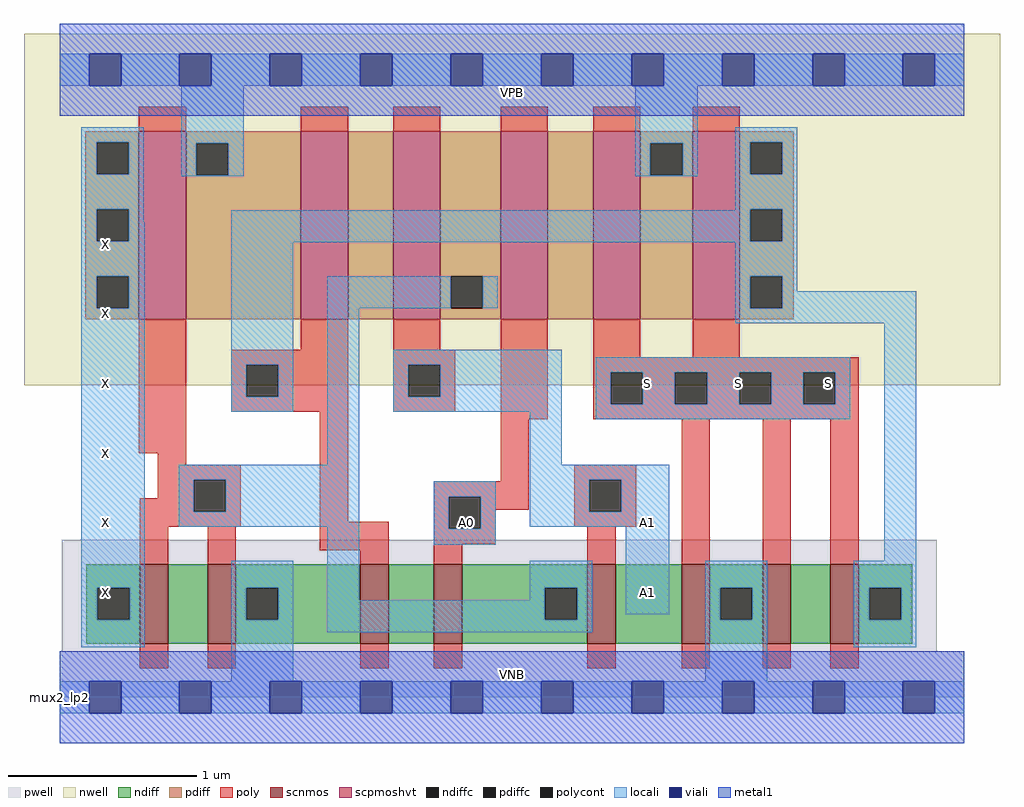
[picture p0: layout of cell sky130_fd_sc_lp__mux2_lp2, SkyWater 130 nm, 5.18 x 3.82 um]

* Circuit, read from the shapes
.subckt sky130_fd_sc_lp__mux2_lp2 A0 A1 S VGND VNB VPB VPWR X
XM1 n1 n2 X VNB sky130_fd_pr__nfet_01v8 w=0.42 l=0.15
XM2 VGND n2 n1 VNB sky130_fd_pr__nfet_01v8 w=0.42 l=0.15
XM3 n3 n4 VGND VNB sky130_fd_pr__nfet_01v8 w=0.42 l=0.15
XM4 n2 A0 n3 VNB sky130_fd_pr__nfet_01v8 w=0.42 l=0.15
XM5 n5 A1 n2 VNB sky130_fd_pr__nfet_01v8 w=0.42 l=0.15
XM6 VGND S n5 VNB sky130_fd_pr__nfet_01v8 w=0.42 l=0.15
XM7 n6 S VGND VNB sky130_fd_pr__nfet_01v8 w=0.42 l=0.15
XM8 n4 S n6 VNB sky130_fd_pr__nfet_01v8 w=0.42 l=0.15
XM9 VPWR n2 X VPB sky130_fd_pr__pfet_01v8_hvt w=1 l=0.25
XM10 n7 n4 VPWR VPB sky130_fd_pr__pfet_01v8_hvt w=1 l=0.25
XM11 n2 A1 n7 VPB sky130_fd_pr__pfet_01v8_hvt w=1 l=0.25
XM12 n8 A0 n2 VPB sky130_fd_pr__pfet_01v8_hvt w=1 l=0.25
XM13 VPWR S n8 VPB sky130_fd_pr__pfet_01v8_hvt w=1 l=0.25
XM14 n4 S VPWR VPB sky130_fd_pr__pfet_01v8_hvt w=1 l=0.25
.ends

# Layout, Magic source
magic
tech sky130A
magscale 1 2
<< nwell >>
rect -38 331 998 704
<< pwell >>
rect 2 49 931 167
rect 0 0 960 49
<< scnmos >>
rect 85 57 115 141
rect 157 57 187 141
rect 319 57 349 141
rect 397 57 427 141
rect 560 57 590 141
rect 660 57 690 141
rect 746 57 776 141
rect 818 57 848 141
<< scpmoshvt >>
rect 84 401 134 601
rect 256 401 306 601
rect 354 401 404 601
rect 468 401 518 601
rect 566 401 616 601
rect 672 401 722 601
<< ndiff >>
rect 28 116 85 141
rect 28 82 40 116
rect 74 82 85 116
rect 28 57 85 82
rect 115 57 157 141
rect 187 116 319 141
rect 187 82 198 116
rect 232 82 319 116
rect 187 57 319 82
rect 349 57 397 141
rect 427 116 560 141
rect 427 82 515 116
rect 549 82 560 116
rect 427 57 560 82
rect 590 57 660 141
rect 690 116 746 141
rect 690 82 701 116
rect 735 82 746 116
rect 690 57 746 82
rect 776 57 818 141
rect 848 116 905 141
rect 848 82 859 116
rect 893 82 905 116
rect 848 57 905 82
<< pdiff >>
rect 27 589 84 601
rect 27 555 39 589
rect 73 555 84 589
rect 27 518 84 555
rect 27 484 39 518
rect 73 484 84 518
rect 27 447 84 484
rect 27 413 39 447
rect 73 413 84 447
rect 27 401 84 413
rect 134 588 256 601
rect 134 554 145 588
rect 179 554 256 588
rect 134 401 256 554
rect 306 401 354 601
rect 404 447 468 601
rect 404 413 415 447
rect 449 413 468 447
rect 404 401 468 413
rect 518 401 566 601
rect 616 588 672 601
rect 616 554 627 588
rect 661 554 672 588
rect 616 401 672 554
rect 722 589 779 601
rect 722 555 733 589
rect 767 555 779 589
rect 722 518 779 555
rect 722 484 733 518
rect 767 484 779 518
rect 722 447 779 484
rect 722 413 733 447
rect 767 413 779 447
rect 722 401 779 413
<< ndiffc >>
rect 40 82 74 116
rect 198 82 232 116
rect 515 82 549 116
rect 701 82 735 116
rect 859 82 893 116
<< pdiffc >>
rect 39 555 73 589
rect 39 484 73 518
rect 39 413 73 447
rect 145 554 179 588
rect 415 413 449 447
rect 627 554 661 588
rect 733 555 767 589
rect 733 484 767 518
rect 733 413 767 447
<< poly >>
rect 84 601 134 627
rect 256 601 306 627
rect 354 601 404 627
rect 468 601 518 627
rect 566 601 616 627
rect 672 601 722 627
rect 84 259 134 401
rect 256 369 306 401
rect 182 353 306 369
rect 182 319 198 353
rect 232 319 306 353
rect 182 303 306 319
rect 354 369 404 401
rect 354 353 420 369
rect 354 319 370 353
rect 404 319 420 353
rect 354 303 420 319
rect 104 247 134 259
rect 104 231 192 247
rect 104 211 142 231
rect 85 197 142 211
rect 176 197 192 231
rect 85 181 192 197
rect 276 186 306 303
rect 468 295 518 401
rect 566 361 616 401
rect 672 361 722 401
rect 566 345 848 361
rect 566 311 585 345
rect 619 311 653 345
rect 687 311 721 345
rect 755 311 789 345
rect 823 311 848 345
rect 566 295 848 311
rect 468 229 498 295
rect 397 213 498 229
rect 85 141 115 181
rect 157 141 187 181
rect 276 156 349 186
rect 319 141 349 156
rect 397 179 413 213
rect 447 199 498 213
rect 546 231 612 247
rect 447 179 463 199
rect 546 197 562 231
rect 596 197 612 231
rect 546 181 612 197
rect 397 163 463 179
rect 397 141 427 163
rect 560 141 590 181
rect 660 141 690 295
rect 746 141 776 295
rect 818 141 848 295
rect 85 31 115 57
rect 157 31 187 57
rect 319 31 349 57
rect 397 31 427 57
rect 560 31 590 57
rect 660 31 690 57
rect 746 31 776 57
rect 818 31 848 57
<< polycont >>
rect 198 319 232 353
rect 370 319 404 353
rect 142 197 176 231
rect 585 311 619 345
rect 653 311 687 345
rect 721 311 755 345
rect 789 311 823 345
rect 413 179 447 213
rect 562 197 596 231
<< locali >>
rect 0 649 31 683
rect 65 649 127 683
rect 161 649 223 683
rect 257 649 319 683
rect 353 649 415 683
rect 449 649 511 683
rect 545 649 607 683
rect 641 649 703 683
rect 737 649 799 683
rect 833 649 895 683
rect 929 649 960 683
rect 23 589 89 605
rect 23 555 39 589
rect 73 555 89 589
rect 23 518 89 555
rect 129 588 195 649
rect 129 554 145 588
rect 179 554 195 588
rect 129 553 195 554
rect 611 588 677 649
rect 611 554 627 588
rect 661 554 677 588
rect 611 553 677 554
rect 717 589 783 605
rect 717 555 733 589
rect 767 555 783 589
rect 23 484 39 518
rect 73 504 89 518
rect 717 518 783 555
rect 717 517 733 518
rect 73 484 90 504
rect 23 447 90 484
rect 23 413 39 447
rect 73 413 90 447
rect 23 116 90 413
rect 182 484 733 517
rect 767 484 783 518
rect 182 483 783 484
rect 182 353 248 483
rect 717 447 783 483
rect 182 319 198 353
rect 232 319 248 353
rect 182 303 248 319
rect 284 413 415 447
rect 449 413 465 447
rect 717 413 733 447
rect 767 431 783 447
rect 767 413 909 431
rect 284 247 318 413
rect 717 397 909 413
rect 354 353 533 369
rect 354 319 370 353
rect 404 319 533 353
rect 354 303 533 319
rect 126 231 318 247
rect 126 197 142 231
rect 176 197 318 231
rect 499 247 533 303
rect 569 345 839 361
rect 569 311 585 345
rect 619 311 653 345
rect 687 311 721 345
rect 755 311 789 345
rect 823 311 839 345
rect 569 295 839 311
rect 499 231 647 247
rect 126 181 318 197
rect 23 82 40 116
rect 74 82 90 116
rect 23 53 90 82
rect 182 116 248 145
rect 182 82 198 116
rect 232 82 248 116
rect 182 17 248 82
rect 284 103 318 181
rect 397 213 463 229
rect 397 179 413 213
rect 447 179 463 213
rect 499 197 562 231
rect 596 197 647 231
rect 499 181 647 197
rect 397 162 463 179
rect 499 116 565 145
rect 499 103 515 116
rect 284 82 515 103
rect 549 82 565 116
rect 601 88 647 181
rect 875 145 909 397
rect 685 116 751 145
rect 284 69 565 82
rect 685 82 701 116
rect 735 82 751 116
rect 685 17 751 82
rect 843 116 909 145
rect 843 82 859 116
rect 893 82 909 116
rect 843 53 909 82
rect 0 -17 31 17
rect 65 -17 127 17
rect 161 -17 223 17
rect 257 -17 319 17
rect 353 -17 415 17
rect 449 -17 511 17
rect 545 -17 607 17
rect 641 -17 703 17
rect 737 -17 799 17
rect 833 -17 895 17
rect 929 -17 960 17
<< viali >>
rect 31 649 65 683
rect 127 649 161 683
rect 223 649 257 683
rect 319 649 353 683
rect 415 649 449 683
rect 511 649 545 683
rect 607 649 641 683
rect 703 649 737 683
rect 799 649 833 683
rect 895 649 929 683
rect 31 -17 65 17
rect 127 -17 161 17
rect 223 -17 257 17
rect 319 -17 353 17
rect 415 -17 449 17
rect 511 -17 545 17
rect 607 -17 641 17
rect 703 -17 737 17
rect 799 -17 833 17
rect 895 -17 929 17
<< metal1 >>
rect 0 683 960 715
rect 0 649 31 683
rect 65 649 127 683
rect 161 649 223 683
rect 257 649 319 683
rect 353 649 415 683
rect 449 649 511 683
rect 545 649 607 683
rect 641 649 703 683
rect 737 649 799 683
rect 833 649 895 683
rect 929 649 960 683
rect 0 617 960 649
rect 0 17 960 49
rect 0 -17 31 17
rect 65 -17 127 17
rect 161 -17 223 17
rect 257 -17 319 17
rect 353 -17 415 17
rect 449 -17 511 17
rect 545 -17 607 17
rect 641 -17 703 17
rect 737 -17 799 17
rect 833 -17 895 17
rect 929 -17 960 17
rect 0 -49 960 -17
<< labels >>
flabel pwell s 0 0 960 49 0 FreeSans 200 0 0 0 VNB
port 5 nsew ground bidirectional
flabel nwell s 0 617 960 666 0 FreeSans 200 0 0 0 VPB
port 6 nsew power bidirectional
rlabel comment s 0 0 0 0 4 mux2_lp2
flabel metal1 s 0 617 960 666 0 FreeSans 340 0 0 0 VPWR
port 7 nsew power bidirectional
flabel metal1 s 0 0 960 49 0 FreeSans 340 0 0 0 VGND
port 4 nsew ground bidirectional
flabel locali s 607 316 641 350 0 FreeSans 340 0 0 0 S
port 3 nsew signal input
flabel locali s 703 316 737 350 0 FreeSans 340 0 0 0 S
port 3 nsew signal input
flabel locali s 799 316 833 350 0 FreeSans 340 0 0 0 S
port 3 nsew signal input
flabel locali s 415 168 449 202 0 FreeSans 340 0 0 0 A0
port 1 nsew signal input
flabel locali s 31 94 65 128 0 FreeSans 340 0 0 0 X
port 8 nsew signal output
flabel locali s 31 168 65 202 0 FreeSans 340 0 0 0 X
port 8 nsew signal output
flabel locali s 31 242 65 276 0 FreeSans 340 0 0 0 X
port 8 nsew signal output
flabel locali s 31 316 65 350 0 FreeSans 340 0 0 0 X
port 8 nsew signal output
flabel locali s 31 390 65 424 0 FreeSans 340 0 0 0 X
port 8 nsew signal output
flabel locali s 31 464 65 498 0 FreeSans 340 0 0 0 X
port 8 nsew signal output
flabel locali s 607 94 641 128 0 FreeSans 340 0 0 0 A1
port 2 nsew signal input
flabel locali s 607 168 641 202 0 FreeSans 340 0 0 0 A1
port 2 nsew signal input
<< properties >>
string LEFsite unit
string LEFclass CORE
string FIXED_BBOX 0 0 960 666
string GDS_FILE $PDKPATH/libs.ref/sky130_fd_sc_lp/gds/sky130_fd_sc_lp.gds
string LEFsymmetry X Y R90
string GDS_END 1663568
string GDS_START 1656026
<< end >>
